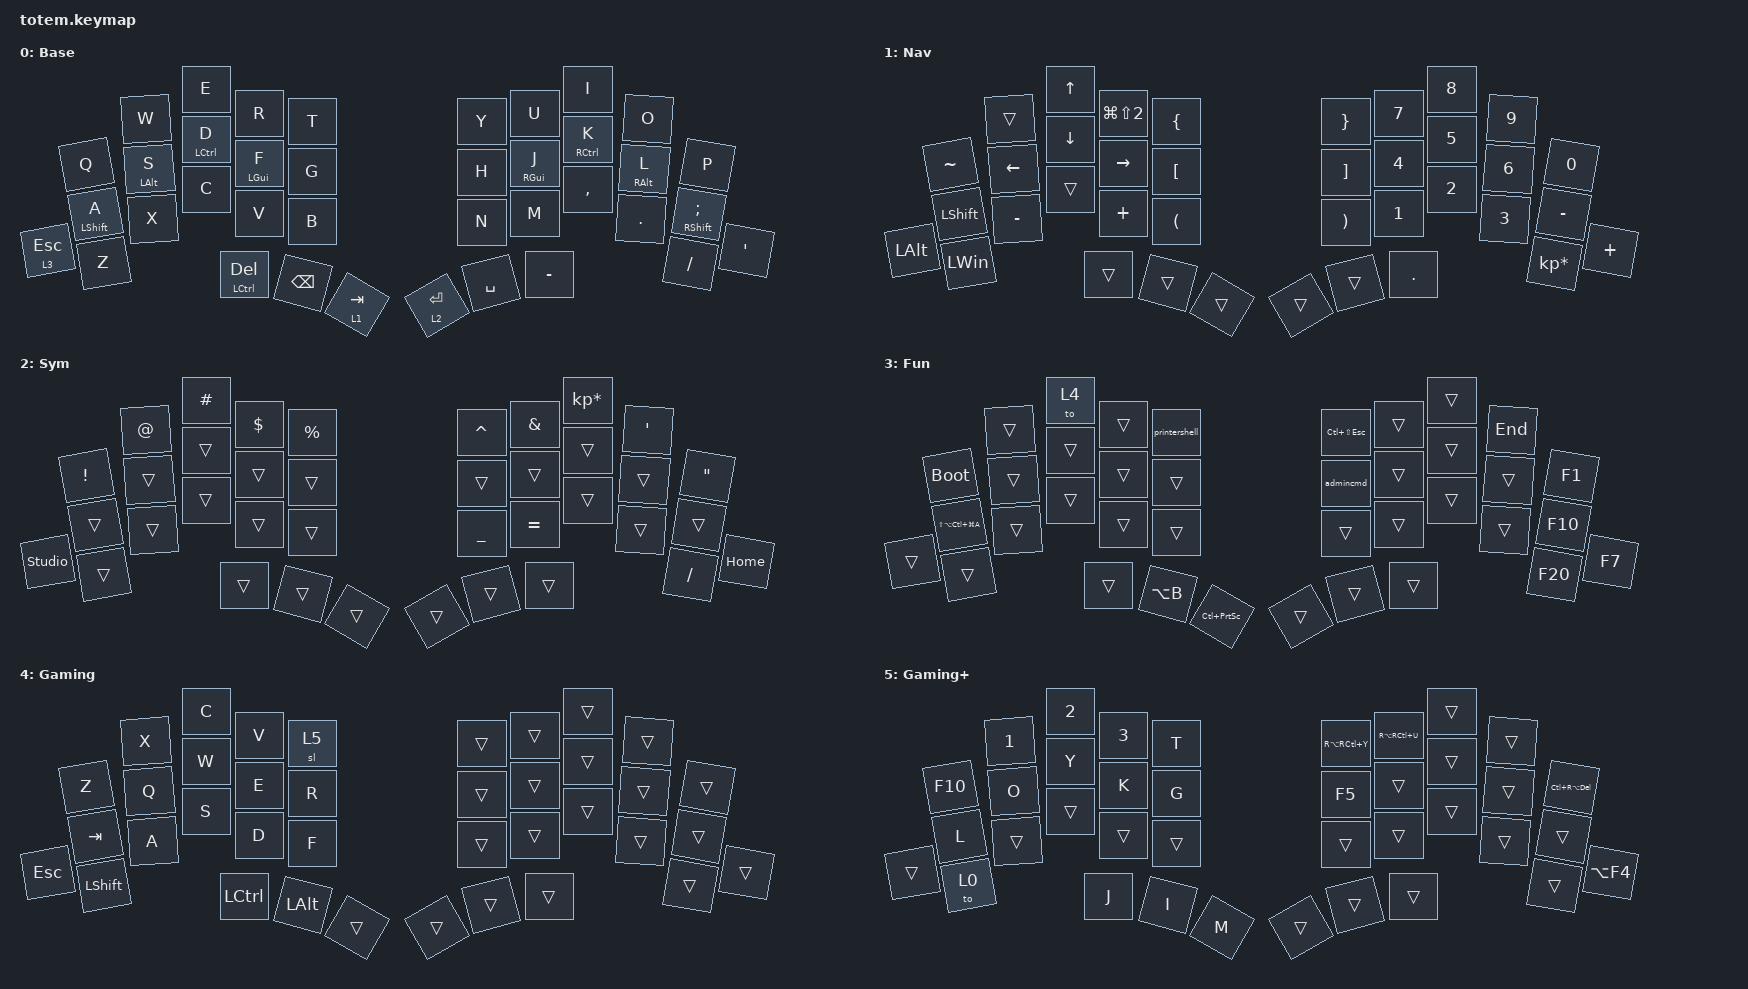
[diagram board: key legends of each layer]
//
//                                                        ▀▀▀▀▀     ▀▀▀▀▀          ▀▀█▀▀
//                                                        ▄▀▀▀▄  ▄  ▄▀▀▀▄  ▄  ▄▀▀▀▄  █  ▄▀▀▀▄
//                                                        █   █  █  █   █  █  █   █  █  █   █
//                                                         ▀▀▀   █   ▀▀▀   █   ▀▀▀   ▀   ▀▀▀
//                                                               █      ▄▄▄█▄▄▄    █   █
//                                                               ▀      █  █  █     █▄█
//                                                             ▀▀▀▀▀    █  █  █      ▀
//                                                                      ▀  ▀  ▀
//
// ▄▄▄▄▄▄▄▄▄▄▄▄▄▄▄▄▄▄▄▄▄▄▄▄▄▄▄▄▄▄▄▄▄▄▄▄▄▄▄▄▄▄▄▄▄▄▄▄▄▄▄▄▄▄▄▄▄▄▄▄▄▄▄▄▄▄▄▄▄▄▄▄▄▄▄▄▄▄▄▄▄▄▄▄▄▄▄▄▄▄▄▄▄▄▄▄▄▄▄▄▄▄▄▄▄▄▄▄▄▄▄▄▄▄▄▄▄▄▄▄▄▄▄▄▄▄▄▄▄▄▄▄▄▄▄▄▄▄▄▄▄▄▄▄▄▄▄▄▄

#include <behaviors.dtsi>
#include <dt-bindings/zmk/keys.h>

#define Base        0
#define Nav         1
#define Sym         2
#define Fun         3
#define Game        4
#define Gameplus    5

&mt {
    quick-tap-ms = <100>;
    require-prior-idle-ms = <100>;
    flavor = "tap-preferred";
    tapping-term-ms = <170>;
};

&lt {
    tapping-term-ms = <240>;
    flavor = "balanced";
    quick-tap-ms = <150>;
};

/ {
    behaviors {
        hm: homerow_mods {
            compatible = "zmk,behavior-hold-tap";
            #binding-cells = <2>;
            flavor = "tap-preferred";
            tapping-term-ms = <200>;
            quick-tap-ms = <125>;
            require-prior-idle-ms = <125>;
            bindings = <&kp>, <&kp>;
        };
    };

    combos { compatible = "zmk,combos"; };

    macros {
        admincmd: admincmd {
            compatible = "zmk,behavior-macro";
            #binding-cells = <0>;
            bindings = <&none &kp LG(R) &kp C &kp M &kp D &kp LS(LC(ENTER))>;
        };

        ping: ping {
            compatible = "zmk,behavior-macro";
            #binding-cells = <0>;
            bindings = <&none &kp LG(R) &kp C &kp M &kp D &kp ENTER &kp P &kp I &kp N &kp G &kp SPACE &kp LC(V) &kp SPACE &kp MINUS &kp T>;
        };

        printershell: shell {
            compatible = "zmk,behavior-macro";
            #binding-cells = <0>;
            bindings = <&kp LG(R) &kp S &kp H &kp E &kp L &kp L &kp COLON &kp COLON &kp COLON &kp LBRC &kp LS(A) &kp N8 &kp LS(A) &kp N9 &kp N1 &kp LS(A) &kp N6 &kp N6 &kp MINUS &kp N3 &kp LS(A) &kp N7 &kp LS(D) &kp MINUS &kp N4 &kp N4 &kp N2 &kp N4 &kp MINUS &kp N8 &kp LS(D) &kp N2 &kp N4 &kp MINUS &kp N0 &kp N4 &kp LS(E) &kp N1 &kp N8 &kp N0 &kp N6 &kp N9 &kp N5 &kp LS(C) &kp N7 &kp LS(A) &kp RBRC>;
        };
    };

    keymap {
        compatible = "zmk,keymap";

        Base {
            display-name = "Base";
            bindings = <
              &kp Q             &kp W       &kp E          &kp R           &kp T        &kp Y         &kp U            &kp I        &kp O       &kp P
              &hm LEFT_SHIFT A  &hm LALT S  &hm LCTRL D    &hm LEFT_GUI F  &kp G        &kp H         &hm RIGHT_GUI J  &hm RCTRL K  &hm RALT L  &hm RIGHT_SHIFT SEMICOLON
&lt 3 ESCAPE  &kp Z             &kp X       &kp C          &kp V           &kp B        &kp N         &kp M            &kp COMMA    &kp DOT     &kp SLASH                  &kp APOSTROPHE
                                            &mt LCTRL DEL  &kp BACKSPACE   &lt 1 TAB    &lt 2 RETURN  &kp SPACE        &kp MINUS
            >;
        };

        Nav {
            display-name = "Nav";
            bindings = <
              &kp TILDE       &trans     &kp UP_ARROW  &kp LG(LS(NUMBER_2))  &kp LBRC    &kp RBRC  &kp NUMBER_7  &kp NUMBER_8  &kp NUMBER_9  &kp NUMBER_0
              &kp LEFT_SHIFT  &kp LEFT   &kp DOWN      &kp RIGHT             &kp LBKT    &kp RBKT  &kp NUMBER_4  &kp NUMBER_5  &kp NUMBER_6  &kp MINUS
&kp LEFT_ALT  &kp LEFT_WIN    &kp MINUS  &trans        &kp PLUS              &kp LPAR    &kp RPAR  &kp NUMBER_1  &kp NUMBER_2  &kp NUMBER_3  &kp KP_MULTIPLY  &kp PLUS
                                         &trans        &trans                &trans      &trans    &trans        &kp DOT
            >;
        };

        Sym {
            display-name = "Sym";
            bindings = <
                &kp EXCL  &kp AT  &kp HASH  &kp DOLLAR  &kp PERCENT    &kp CARET  &kp AMPERSAND  &kp KP_ASTERISK  &kp SQT  &kp DQT
                &trans    &trans  &trans    &trans      &trans         &trans     &trans         &trans           &trans   &trans
&studio_unlock  &trans    &trans  &trans    &trans      &trans         &kp UNDER  &kp EQUAL      &trans           &trans   &kp SLASH  &kp HOME
                                  &trans    &trans      &trans         &trans     &trans         &trans
            >;
        };

        Fun {
            display-name = "Fun";
            bindings = <
        &bootloader            &trans  &to 4   &trans     &printershell          &kp LC(LS(ESC))  &trans  &trans  &kp END  &kp F1
        &kp LS(LA(LC(LG(A))))  &trans  &trans  &trans     &trans                 &admincmd        &trans  &trans  &trans   &kp F10
&trans  &trans                 &trans  &trans  &trans     &trans                 &trans           &trans  &trans  &trans   &kp F20  &kp F7
                                       &trans  &kp LA(B)  &kp LC(PRINTSCREEN)    &trans           &trans  &trans
            >;
        };

        Gaming {
            display-name = "Gaming";
            bindings = <
            &kp Z           &kp X  &kp C      &kp V         &sl 5     &trans  &trans  &trans  &trans  &trans
            &kp TAB         &kp Q  &kp W      &kp E         &kp R     &trans  &trans  &trans  &trans  &trans
&kp ESCAPE  &kp LEFT_SHIFT  &kp A  &kp S      &kp D         &kp F     &trans  &trans  &trans  &trans  &trans  &trans
                                   &kp LCTRL  &kp LEFT_ALT  &trans    &trans  &trans  &trans
            >;
        };

        Gaming+ {
            display-name = "Gaming+";
            bindings = <
        &kp F10  &kp NUMBER_1  &kp NUMBER_2  &kp NUMBER_3  &kp T     &kp RA(RC(Y))  &kp RA(RC(U))  &trans  &trans  &kp LC(RA(DEL))
        &kp L    &kp O         &kp Y         &kp K         &kp G     &kp F5         &trans         &trans  &trans  &trans
&trans  &to 0    &trans        &trans        &trans        &trans    &trans         &trans         &trans  &trans  &trans           &kp LA(F4)
                               &kp J         &kp I         &kp M     &trans         &trans         &trans
            >;
        };
    };
};
